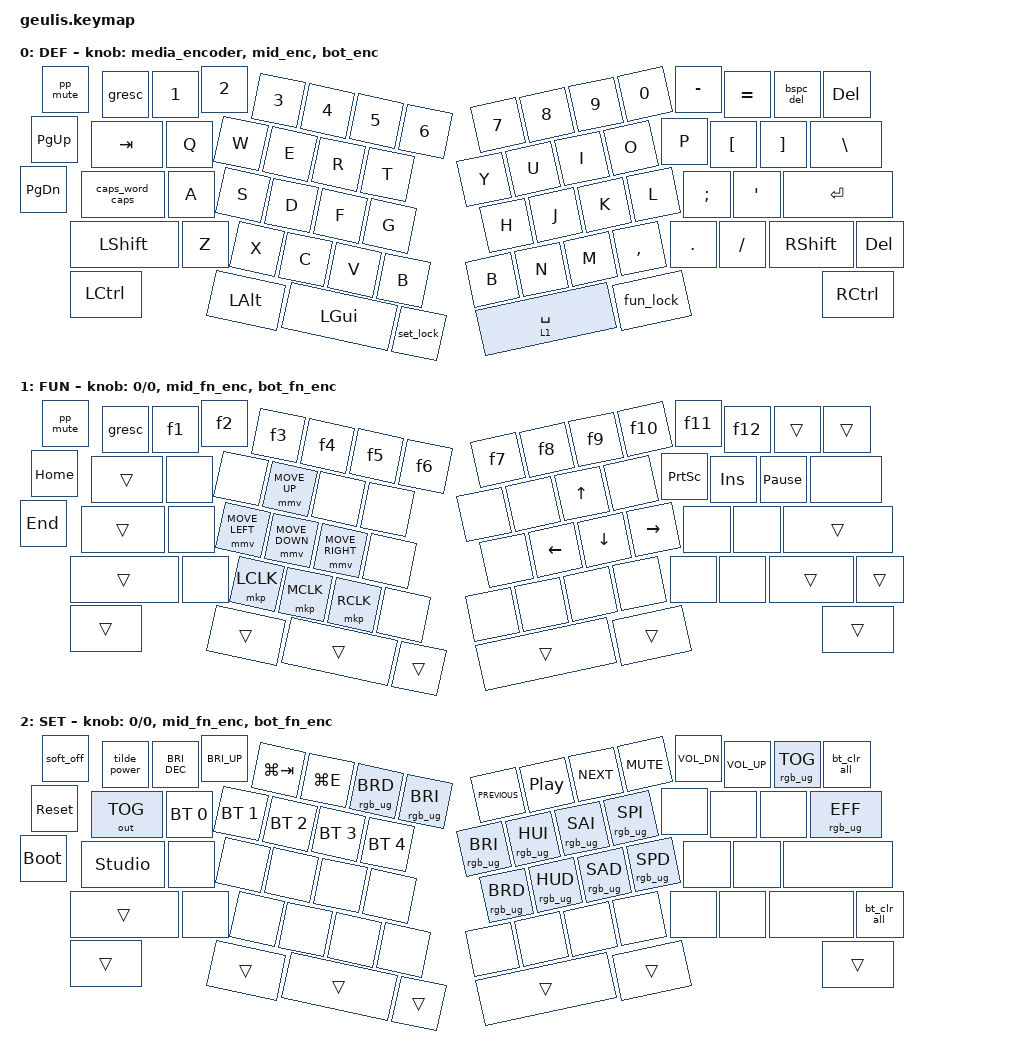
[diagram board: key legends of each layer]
/*
 * Copyright (c) 2024 Ujang Karnadi
 *
 * SPDX-License-Identifier: MIT
 */

#include <behaviors.dtsi>
#include <dt-bindings/zmk/bt.h>
#include <dt-bindings/zmk/ext_power.h>
#include <dt-bindings/zmk/keys.h>
#include <dt-bindings/zmk/mouse.h>
#include <dt-bindings/zmk/outputs.h>
#include <dt-bindings/zmk/pointing.h>
#include <dt-bindings/zmk/rgb.h>

#define MODS_COMBO (MOD_LSFT|MOD_LGUI|MOD_RSFT|MOD_RGUI)

#define MORPH(name, first, second) \
    name: name { \
        compatible = "zmk,behavior-mod-morph"; \
        bindings = <first>, <second>; \
        #binding-cells = <0>; \
        mods = <(MODS_COMBO)>; \
    };

#define ENCODER_VAR(name, prev_bind, next_bind) \
    name: name { \
        compatible = "zmk,behavior-sensor-rotate-var"; \
        #sensor-binding-cells = <2>; \
        bindings = <prev_bind>, <next_bind>; \
    };

#define ENCODER(name, prev_bind, next_bind) \
    name: name { \
        compatible = "zmk,behavior-sensor-rotate"; \
        #sensor-binding-cells = <0>; \
        bindings = <prev_bind>, <next_bind>; \
    };


&caps_word {
    continue-list = <UNDERSCORE MINUS>;
};

/*
 * Balanced layer-tap for the inner-thumb Space key.
 * "balanced" flavor only fires the hold (layer-1 entry = functions) once
 * another key is pressed *and* released while Space is held — avoids
 * sticky-Fn when the user pauses briefly on Space.
 */
&lt {
    flavor = "balanced";
    tapping-term-ms = <200>;
    quick-tap-ms = <200>;
};



/ {


    behaviors {
        // Volume and RGB controls
        MORPH(vol_next, &kp C_VOL_UP, &kp C_NEXT)
        MORPH(vol_prev, &kp C_VOL_DN, &kp C_PREV)
        MORPH(bri_i_hue_i, &rgb_ug RGB_BRI, &rgb_ug RGB_HUI)
        MORPH(bri_d_hue_d, &rgb_ug RGB_BRD, &rgb_ug RGB_HUD)

        // Encoders
        ENCODER(media_encoder, &vol_prev, &vol_next)
        ENCODER_VAR(rgb_encoder, &bri_d_hue_d, &bri_i_hue_i)
        ENCODER(bt_encoder, &bt BT_PRV, &bt BT_NXT)
        // Mid encoder: vertical scroll (DOWN/UP arrow) by default, undo/redo on upper layers.
        // Each action is a MORPH (own phandle) so the ENCODER binding can use a
        // bare phandle reference instead of &kp <HID-arithmetic> (which the DTS
        // parser rejects when nested inside a sensor-rotate's bindings).
        MORPH(mid_enc_prev, &kp DOWN, &kp DOWN)
        MORPH(mid_enc_next, &kp UP, &kp UP)
        MORPH(mid_fn_enc_prev, &kp LC(Z), &kp LC(Y))
        MORPH(mid_fn_enc_next, &kp LC(Y), &kp LC(Z))
        ENCODER(mid_enc, &mid_enc_prev, &mid_enc_next)
        ENCODER(mid_fn_enc, &mid_fn_enc_prev, &mid_fn_enc_next)
        // Bot encoder: horizontal scroll (LEFT/RIGHT arrow) by default,
        // browser back/forward on upper layers.
        MORPH(bot_enc_prev, &kp LEFT, &kp LEFT)
        MORPH(bot_enc_next, &kp RIGHT, &kp RIGHT)
        MORPH(bot_fn_enc_prev, &kp C_AC_BACK, &kp C_AC_BACK)
        MORPH(bot_fn_enc_next, &kp C_AC_FORWARD, &kp C_AC_FORWARD)
        ENCODER(bot_enc, &bot_enc_prev, &bot_enc_next)
        ENCODER(bot_fn_enc, &bot_fn_enc_prev, &bot_fn_enc_next)

        // Media controls
        MORPH(f12, &kp F12, &kp C_VOL_UP)
        MORPH(f11, &kp F11, &kp C_VOL_DN)
        MORPH(f10, &kp F10, &kp C_MUTE)
        MORPH(f9, &kp F9, &kp C_NEXT)
        MORPH(f8, &kp F8, &kp C_PP)
        MORPH(f7, &kp F7, &kp C_PREV)
        MORPH(f6, &kp F6, &rgb_ug RGB_BRI)
        MORPH(f5, &kp F5, &rgb_ug RGB_BRD)
        // Default F3/F4 are Mac-style launch shortcuts:
        //   f3 -> Cmd+Tab (App Switcher)
        //   f4 -> Cmd+E (varies by app, e.g. "Use Selection for Find")
        MORPH(f4,      &kp F4, &kp LG(E))
        MORPH(f3,      &kp F3, &kp LG(TAB))
        // Platform-specific alternates, selectable via ZMK Studio:
        //   macOS alternatives (Cmd+LC+Up = Mission Control Show Desktop):
        //     f3_mac -- Cmd+LC+Up (Show Desktop on macOS)
        //     f4_mac -- Cmd+E (Use Selection for Find / open Explorer)
        //   Windows (Win+Tab = Task View, Win+E = File Explorer):
        //     f3_win -- Win+Tab (Task View)
        //     f4_win -- Win+E (File Explorer)
        //   Linux/GNOME (Ubuntu default; Super+Tab = window switcher, Super+E = Files):
        //     f3_tux -- Super+Tab (window switcher)
        //     f4_tux -- Super+E (open Files app)
        // To switch host in ZMK Studio: rebind the F3 / F4 key on the FUN
        // layer (or the SET-layer `&kp LG(TAB)` / `&kp LG(E)` slots) to one
        // of the alternate morphs/labels above.
        MORPH(f3_mac,  &kp F3, &kp LC(UP_ARROW))
        MORPH(f4_mac,  &kp F4, &kp LG(E))
        MORPH(f3_win,  &kp F3, &kp LG(TAB))
        MORPH(f4_win,  &kp F4, &kp LG(E))
        MORPH(f3_tux,  &kp F3, &kp LG(TAB))
        MORPH(f4_tux,  &kp F4, &kp LG(E))
        MORPH(f2, &kp F2, &kp C_BRI_UP)
        MORPH(f1, &kp F1, &kp C_BRI_DN)
        MORPH(bt_rgb_tog, &out OUT_TOG, &rgb_ug RGB_TOG)
        MORPH(bt_rgb_next, &bt BT_NXT, &rgb_ug RGB_EFF)
        MORPH(bt_clr_all, &bt BT_CLR, &bt BT_CLR_ALL)
        MORPH(tilde_power, &kp TILDE, &ext_power EP_TOG)
        MORPH(pp_shut, &kp C_PP, &soft_off)
        MORPH(home_rst, &kp HOME, &sys_reset)
        MORPH(end_boot, &kp END, &bootloader)
        MORPH(pp_mute, &kp C_MUTE, &kp C_PP)

        // Tap-dance layer-locks (user-facing UX for the FUN and SET layers).
        // The two morphs share the same shape: a single tap fires the
        // corresponding &mo N (momentary \u2014 layer active while held), while
        // a double tap toggles the &tog N (lock \u2014 layer stays active until
        // toggled again). Tuning the `tapping-term-ms` controls how quickly
        // the second tap must follow the first to count as a double-tap.
        //   fun_lock: SET 1 = momentary FUN; SET 2 = toggle-lock FUN
        //   set_lock: SET 1 = momentary SET; SET 2 = toggle-lock SET
        fun_lock: fun_lock {
            compatible = "zmk,behavior-tap-dance";
            #binding-cells = <0>;
            tapping-term-ms = <200>;
            bindings = <&mo 1>, <&tog 1>;
        };
        set_lock: set_lock {
            compatible = "zmk,behavior-tap-dance";
            #binding-cells = <0>;
            tapping-term-ms = <200>;
            bindings = <&mo 2>, <&tog 2>;
        };
        // Caps Lock: morph — caps_word on plain tap, &kp CAPS when Shift/Cmd
        // is held. This is the original Geulis binding; user benefits from
        // caps-word ergonomics. (No LED indicator on v0.3 — the green LED is
        // reserved for Caps Lock on the main-branch only.)
        MORPH(caps_word_caps, &caps_word, &kp CAPS)
        MORPH(bspc_del, &kp BACKSPACE, &kp DEL)
    };

    combos {
        compatible = "zmk,combos";

        // ============================================================
        // ADMIN COMBOS (hold-2-physical-switches-to-activate)
        // ============================================================
        // All combos below use the "primary" physical switch (pos 32, the
        // Caps Lock position on the chosen physical layout) plus a secondary
        // letter/number. Hold both for ~100 ms to trigger the action.
        //
        // The intentionally dangerous combos (bootloader, sys_reset,
        // soft_off, ext_power EP_*) intentionally do NOT set `layers = <...>`
        // so they stay locked to layer 3 (settings) and cannot fire from
        // the base layer.
        // ============================================================

        // backspace (pos 14) + primary (pos 32) -> unlock ZMK Studio
        COMBO_UNLOCK_STUDIO {
            bindings = <&studio_unlock>;
            key-positions = <14 32>;
        };

        // U (pos 24) + primary -> unlock ZMK Studio (alternate chord)
        COMBO_UNLOCK_STUDIO2 {
            bindings = <&studio_unlock>;
            key-positions = <24 32>;
        };

        // B (pos 50) + primary -> enter bootloader (UF2 mass-storage)
        COMBO_BOOTLOADER {
            bindings = <&bootloader>;
            key-positions = <50 32>;
        };

        // B (pos 51, alternate B) + primary -> enter bootloader (UF2 mass-storage)
        COMBO_BOOTLOADER2 {
            bindings = <&bootloader>;
            key-positions = <51 32>;
        };

        // R (pos 21) + primary -> reset the microcontroller (reboots firmware)
        COMBO_RESET {
            bindings = <&sys_reset>;
            key-positions = <21 32>;
        };

        // S (pos 34) + primary -> soft-off the keyboard (ZMK sleep)
        COMBO_SHUTDOWN {
            bindings = <&soft_off>;
            key-positions = <34 32>;
        };

        // P (pos 27) + primary -> toggle external power (USB VCC)
        COMBO_POWER {
            bindings = <&ext_power EP_TOG>;
            key-positions = <27 32>;
        };

        // 0 (pos 2) + primary -> force external power ON
        COMBO_POWER_ON {
            bindings = <&ext_power EP_ON>;
            key-positions = <2 32>;
            // layers = <2 3>;
        };

        // 1 (pos 11) + primary -> force external power OFF
        COMBO_POWER_OFF {
            bindings = <&ext_power EP_OFF>;
            key-positions = <11 32>;
            // layers = <2 3>;
        };

    };


    keymap {
        compatible = "zmk,keymap";

/*
 * Default layer:
 *     .-----.    .----------------------------------------.       .-----------------------------------------------.
 *     | PP  |   |  ~| |  1  |  2  |  3  |  4  |  5  |  6  |       |  7  |  8  |  9  |  0  |  -  |  =  | Bsp | Del |
 *    .'-----'   +-----+-----+-----+-----+-----+-----+-----'     .-+-----+-----+-----+-----+-----+-----+-----+-----+.
 *    | PgUp|   |  Tab  |  Q  |  W  |  E  |  R  |  T  |         |  Y  |  U  |  I  |  O  |  P  |  [  |  ]  |    \     |
 *   .------'   +--------+-----+-----+-----+-----+-----+.        '-----+-----+-----+-----+-----+-----+-----+---------+.
 *   | PgDn|   |  Caps   |  A  |  S  |  D  |  F  |  G  |          |  H  |  J  |  K  |  L  |  ;  |  '  |     Enter     |
 *   '-----'   +----------+-----+-----+-----+-----+-----+.      .--+-----+-----+-----+-----+-----+-----+--------------+.
 *            |    Shift   |  Z  |  X  |  C  |  V  |  B  |      |  B  |   N  |  M  |  ,  |  .  |  /  |   Shift   | Del |
 *            |------+-----+-----+-----+-----+-----+-----+-.    |-----+------+-----+-----+-----+-----+---------+------+'
 *            | Ctrl |          |  ALT  |     WIN    | SET |    |    Space     |  FUN  |                       | Ctrl |
 *            '------'          '--------------------------'    '----------------------'                       '------'
 */

        default_layer {
            display-name = "DEF";
            bindings = <
&pp_mute         &gresc             &kp N1    &kp N2    &kp N3      &kp N4      &kp N5      &kp N6             &kp N7     &kp N8          &kp N9       &kp N0       &kp MINUS    &kp EQUAL    &bspc_del    &kp DEL
&kp PAGE_UP      &kp TAB            &kp Q     &kp W     &kp E       &kp R       &kp T                          &kp Y      &kp U           &kp I        &kp O        &kp P        &kp LBKT     &kp RBKT     &kp BACKSLASH
&kp PAGE_DOWN    &caps_word_caps    &kp A     &kp S     &kp D       &kp F       &kp G                                     &kp H           &kp J        &kp K        &kp L        &kp SEMI     &kp SQT      &kp RET
                 &kp LSHFT          &kp Z     &kp X     &kp C       &kp V       &kp B                          &kp B      &kp N           &kp M        &kp COMMA    &kp DOT      &kp FSLH     &kp RSHFT    &kp DEL
                 &kp LCTRL                              &kp LALT    &kp LGUI    &set_lock                                 &lt 1 SPACE     &fun_lock                                                        &kp RCTRL
            >;

            sensor-bindings = <&media_encoder>, <&mid_enc>, <&bot_enc>;
        };

/*
 * Function layer:
 *     .-----.    .----------------------------------------.       .-----------------------------------------------.
 *     | MUTE|   |  ~  |  f1 |  f2 |  f3 |  f4 |  f5 |  f6 |       |  f7 |  f8 |  f9 |  f10 | f11 | f12 | --- | --- |
 *    .'-----'   +-----+-----+-----+-----+-----+-----+-----'     .-+-----+-----+-----+-----+-----+-----+-----+-----+.
 *    | HOME|   |  ---  | --- | --- |  M↑  | --- | --- |         | --- | --- |  ↑  | --- | PRT | INS |  PB  |  ----  |
 *   .------'   +--------+-----+-----+-----+-----+-----+.        '-----+-----+-----+-----+-----+-----+-----+---------+.
 *   | END |   |  ----   | --- |  M← |  M↓  |  M→ | --- |          | --- |  ←  |  ↓  |  →  | --- | --- |     -----     |
 *   '-----'   +----------+-----+-----+-----+-----+-------+.      .--+-----+-----+-----+-----+-----+-----+--------------+.
 *            |    ----    | --- |  LC  |  MC  |  RC | --- |      | --- |  --- | --- | --- | --- | ---  |  -----   | --- |
 *            |------+-----+-----+-----+-----+-----+-----+-.    |-----+------+-----+-----+-----+-----+---------+------+'
 *            | ---- |          |  ---  |     ---    | --- |    |    -----     |  FUN  |                       | ---- |
 *            '------'          '--------------------------'    '----------------------'                       '------'
 */

        functions {
            display-name = "FUN";
            bindings = <
&pp_mute     &gresc    &f1      &f2               &f3               &f4                &f5      &f6        &f7      &f8       &f9         &f10        &f11               &f12          &trans             &trans
&kp HOME     &trans    &none    &none             &mmv MOVE_UP      &none              &none               &none    &none     &kp UP      &none       &kp PRINTSCREEN    &kp INSERT    &kp PAUSE_BREAK    &none
&kp END      &trans    &none    &mmv MOVE_LEFT    &mmv MOVE_DOWN    &mmv MOVE_RIGHT    &none                        &none     &kp LEFT    &kp DOWN    &kp RIGHT          &none         &none              &trans
             &trans    &none    &mkp LCLK         &mkp MCLK         &mkp RCLK          &none               &none    &none     &none       &none       &none              &none         &trans             &trans
             &trans                               &trans            &trans             &trans                       &trans    &trans                                                                      &trans
            >;

            sensor-bindings = <&rgb_encoder 0 0>, <&mid_fn_enc>, <&bot_fn_enc>;
        };
/*
 * Settings:
 *     .-----.    .----------------------------------------.       .-----------------------------------------------.
 *     | Off |   | PWR |  ↓  |  ↑  | Tab |  E  | BR- | BR+ |       | PRV | PP | NXT | MUT | V- | V+ |RGB TOG |BT CLR|
 *    .'-----'   +-----+-----+-----+-----+-----+-----+-----'     .-+-----+-----+-----+-----+-----+-----+-----+-----+.
 *    | RST |   |OUT TG| BT0 | BT1 | BT2 | BT3 | BT4 |          | BR+ | HUE+ | SAT+ | SPD+ | --- | --- | --- |  ---   |
 *   .------'   +--------+-----+-----+-----+-----+-----+.        '-----+-----+-----+-----+-----+-----+-----+---------+.
 *   | BOOT |   |  StU  | --- | --- | --- | --- | --- |          |  BR- | HUE- | SAT- | SPD- | --- | --- |    ---      |
 *   '-----'   +----------+-----+-----+-----+-----+-----+.      .--+-----+-----+-----+-----+-----+-----+--------------+.
 *            |    ---     | --- | --- | --- | --- | --- |      | --- | --- | --- | --- | --- | --- |  ---   |BT CLR  |
 *            |------+-----+-----+-----+-----+-----+-----+-.    |-----+------+-----+-----+-----+-----+---------+------+'
 *            | ---  |         |  ---  |     ---    | ---  |    |    ---      |  ---  |                       | ---  |
 *            '------'          '--------------------------'    '----------------------'                       '-----'
 */

        settings {
            display-name = "SET";
            bindings = <
&soft_off      &tilde_power      &kp C_BRI_DEC    &kp C_BRI_UP    &kp LG(TAB)     &kp LG(E)       &rgb_ug RGB_BRD  &rgb_ug RGB_BRI        &kp C_PREVIOUS      &kp C_PP           &kp C_NEXT         &kp C_MUTE         &kp C_VOL_DN       &kp C_VOL_UP     &rgb_ug RGB_TOG    &bt_clr_all
&sys_reset     &out OUT_TOG      &bt BT_SEL 0     &bt BT_SEL 1    &bt BT_SEL 2    &bt BT_SEL 3    &bt BT_SEL 4                            &rgb_ug RGB_BRI     &rgb_ug RGB_HUI    &rgb_ug RGB_SAI    &rgb_ug RGB_SPI    &none              &none            &none              &rgb_ug RGB_EFF
&bootloader    &studio_unlock    &none            &none           &none           &none           &none                                                       &rgb_ug RGB_BRD    &rgb_ug RGB_HUD    &rgb_ug RGB_SAD    &rgb_ug RGB_SPD    &none            &none              &none
               &trans            &none            &none           &none           &none           &none                                   &none               &none              &none              &none              &none              &none            &none              &bt_clr_all
               &trans                                             &trans          &trans          &trans                                                      &trans              &trans                                                                                      &trans
            >;

             sensor-bindings = <&rgb_encoder 0 0>, <&mid_fn_enc>, <&bot_fn_enc>;
        };

/*
 * Extra1:
 *     .-----.    .----------------------------------------.       .-----------------------------------------------.
 *     | --- |   | --- | --- | --- | --- | --- | --- | --- |       | --- | --- | --- | --- | --- | --- | --- | --- |
 *    .'-----'   +-----+-----+-----+-----+-----+-----+-----'     .-+-----+-----+-----+-----+-----+-----+-----+-----+.
 *    | --- |   |  ---   | --- | --- | --- | --- | --- |         | --- | --- | --- | --- | --- | --- | --- |  ---   |
 *   .------'   +--------+-----+-----+-----+-----+-----+.        '-----+-----+-----+-----+-----+-----+-----+---------+.
 *   | --- |   |   ---    | --- | --- | --- | --- | --- |          | --- | --- | --- | --- | --- | --- |    ---       |
 *   '-----'   +----------+-----+-----+-----+-----+-----+.      .--+-----+-----+-----+-----+-----+-----+--------------+.
 *            |    ---     | --- | --- | --- | --- | --- |      | --- | --- | --- | --- | --- | --- |   ---    | ---   |
 *            |------+-----+-----+-----+-----+-----+-----+-.    |-----+------+-----+-----+-----+-----+---------+------+'
 *            | ---  |          |  ---  |     ---    | --- |    |    ---      |  ---   |                       | ---  |
 *            '------'          '--------------------------'    '----------------------'                       '------'
 */

        extra1 {
            status = "reserved";
            bindings = <
&trans    &trans  &trans  &trans  &trans  &trans  &trans  &trans      &trans  &trans  &trans  &trans  &trans  &trans  &trans  &trans
&trans    &trans  &trans  &trans  &trans  &trans  &trans              &trans  &trans  &trans  &trans  &trans  &trans  &trans  &trans
&trans    &trans  &trans  &trans  &trans  &trans  &trans                      &trans  &trans  &trans  &trans  &trans  &trans  &trans
          &trans  &trans  &trans  &trans  &trans  &trans              &trans  &trans  &trans  &trans  &trans  &trans  &trans  &trans
          &trans                  &trans  &trans  &trans              &trans  &trans                                          &trans
            >;
        };

/*
 * Extra2:
 *     .-----.    .----------------------------------------.       .-----------------------------------------------.
 *     | --- |   | --- | --- | --- | --- | --- | --- | --- |       | --- | --- | --- | --- | --- | --- | --- | --- |
 *    .'-----'   +-----+-----+-----+-----+-----+-----+-----'     .-+-----+-----+-----+-----+-----+-----+-----+-----+.
 *    | --- |   |  ---   | --- | --- | --- | --- | --- |         | --- | --- | --- | --- | --- | --- | --- |  ---   |
 *   .------'   +--------+-----+-----+-----+-----+-----+.        '-----+-----+-----+-----+-----+-----+-----+---------+.
 *   | --- |   |   ---    | --- | --- | --- | --- | --- |          | --- | --- | --- | --- | --- | --- |    ---       |
 *   '-----'   +----------+-----+-----+-----+-----+-----+.      .--+-----+-----+-----+-----+-----+-----+--------------+.
 *            |    ---     | --- | --- | --- | --- | --- |      | --- | --- | --- | --- | --- | --- |   ---    | ---   |
 *            |------+-----+-----+-----+-----+-----+-----+-.    |-----+------+-----+-----+-----+-----+---------+------+'
 *            | ---  |          |  ---  |     ---    | --- |    |    ---      |  ---    |                      | ---  |
 *            '------'          '--------------------------'    '----------------------'                       '------'
 */

        extra2 {
            status = "reserved";
            bindings = <
&trans    &trans  &trans  &trans  &trans  &trans  &trans  &trans      &trans  &trans  &trans  &trans  &trans  &trans  &trans  &trans
&trans    &trans  &trans  &trans  &trans  &trans  &trans              &trans  &trans  &trans  &trans  &trans  &trans  &trans  &trans
&trans    &trans  &trans  &trans  &trans  &trans  &trans                      &trans  &trans  &trans  &trans  &trans  &trans  &trans
          &trans  &trans  &trans  &trans  &trans  &trans              &trans  &trans  &trans  &trans  &trans  &trans  &trans  &trans
          &trans                  &trans  &trans  &trans              &trans  &trans                                          &trans
            >;
        };
    };
};
